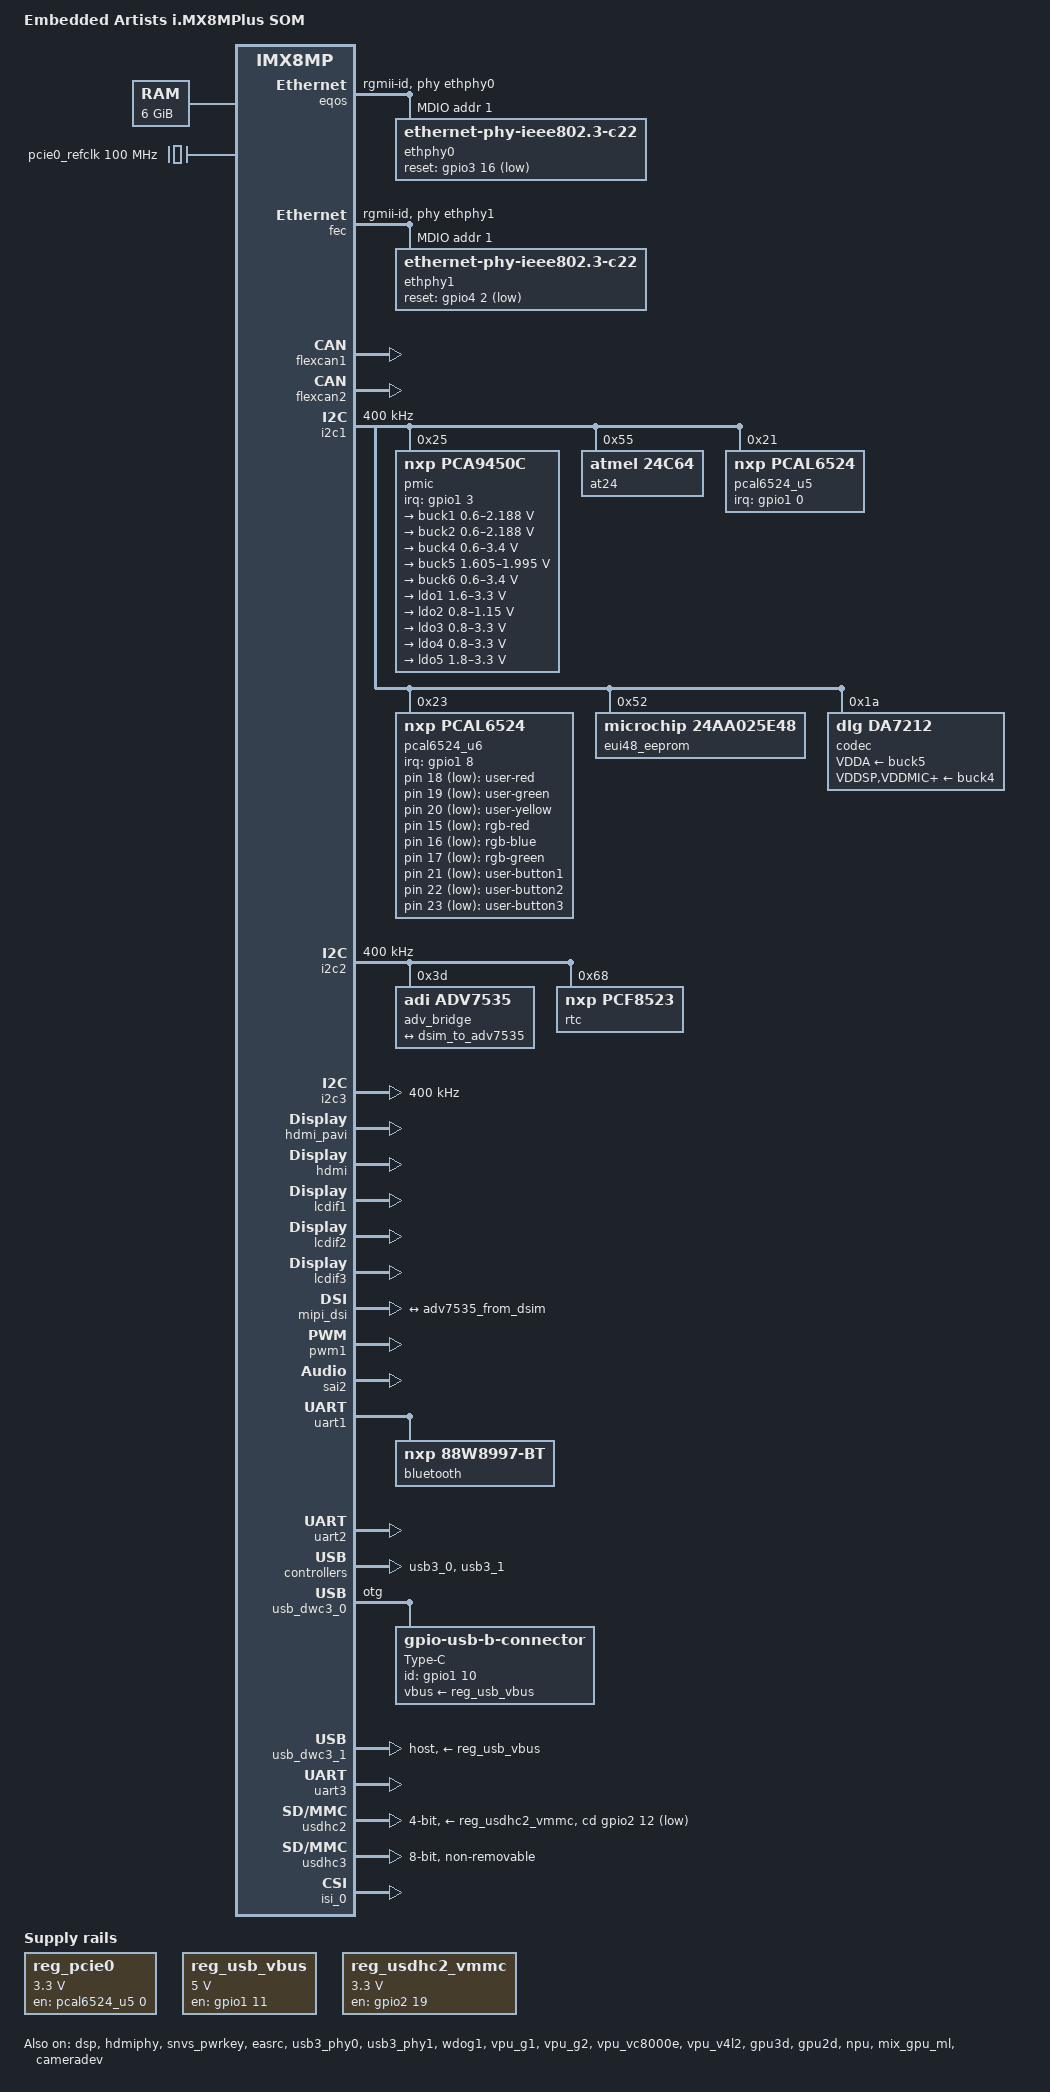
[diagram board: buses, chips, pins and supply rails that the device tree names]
// SPDX-License-Identifier: (GPL-2.0+ OR MIT)
/*
 * Copyright 2019 NXP
 */

/dts-v1/;

#include <dt-bindings/phy/phy-imx8-pcie.h>
#include <dt-bindings/usb/pd.h>
#include "imx8mp.dtsi"
#include "imx8mp-nxp-display.dtsi"
#include "imx8mp-nxp-capture.dtsi"

/ {
	model = "Embedded Artists i.MX8MPlus SOM";
	compatible = "fsl,imx8mpea-som", "fsl,imx8mp";

	chosen {
		stdout-path = &uart2;
	};

	memory@40000000 {
		device_type = "memory";
		reg = <0x0 0x40000000 0 0xc0000000>,
		      <0x1 0x00000000 0 0xc0000000>;
	};

	pcie0_refclk: pcie0-refclk {
		compatible = "fixed-clock";
		#clock-cells = <0>;
		clock-frequency = <100000000>;
	};

	reg_pcie0: regulator-pcie {
		compatible = "regulator-fixed";
		regulator-name = "MPCIE_3V3";
		regulator-min-microvolt = <3300000>;
		regulator-max-microvolt = <3300000>;
		gpio = <&pcal6524_u5 0 GPIO_ACTIVE_HIGH>; /* M2E_WL_REG_ON */
		enable-active-high;
	};

	reg_usb_vbus: regulator-vbus {
		compatible = "regulator-fixed";
		pinctrl-names = "default";
		pinctrl-0 = <&pinctrl_usb1_vbus>;
		regulator-name = "USB_VBUS";
		regulator-min-microvolt = <5000000>;
		regulator-max-microvolt = <5000000>;
		gpio = <&gpio1 11 GPIO_ACTIVE_HIGH>;
		enable-active-high;
		regulator-always-on;
	};

	reg_usdhc2_vmmc: regulator-usdhc2 {
		compatible = "regulator-fixed";
		pinctrl-names = "default";
		pinctrl-0 = <&pinctrl_reg_usdhc2_vmmc>;
		regulator-name = "VSD_3V3";
		regulator-min-microvolt = <3300000>;
		regulator-max-microvolt = <3300000>;
		gpio = <&gpio2 19 GPIO_ACTIVE_HIGH>;
		enable-active-high;
	};

	sound-da7217 {
		compatible = "simple-audio-card";
		simple-audio-card,name = "da7217-audio";
		simple-audio-card,format = "i2s";
		simple-audio-card,frame-master = <&cpudai>;
		simple-audio-card,bitclock-master = <&cpudai>;
		simple-audio-card,widgets = "Speaker", "Ext Spk";
		simple-audio-card,routing = "Ext Spk", "LINE";

		cpudai: simple-audio-card,cpu {
			sound-dai = <&sai2>;
			dai-tdm-slot-num = <2>;
			dai-tdm-slot-width = <32>;
		};

		simple-audio-card,codec {
			sound-dai = <&codec>;
			clocks = <&clk IMX8MP_CLK_SAI2_ROOT>;
		};
	};

	reserved-memory {
		#address-cells = <2>;
		#size-cells = <2>;
		ranges;

		dsp_vdev0vring0: vdev0vring0@942f0000 {
			reg = <0 0x942f0000 0 0x8000>;
			no-map;
		};

		dsp_vdev0vring1: vdev0vring1@942f8000 {
			reg = <0 0x942f8000 0 0x8000>;
			no-map;
		};

		dsp_vdev0buffer: vdev0buffer@94300000 {
			compatible = "shared-dma-pool";
			reg = <0 0x94300000 0 0x100000>;
			no-map;
		};
	};

	leds {
		compatible = "gpio-leds";

		led-0 {
			label = "user-red";
			gpios = <&pcal6524_u6 18 GPIO_ACTIVE_LOW>;
			default-state = "off";
		};

		led-1 {
			label = "user-green";
			gpios = <&pcal6524_u6 19 GPIO_ACTIVE_LOW>;
			default-state = "off";
		};

		led-2 {
			label = "user-yellow";
			gpios = <&pcal6524_u6 20 GPIO_ACTIVE_LOW>;
			default-state = "off";
		};

		led-3 {
			label = "rgb-red";
			gpios = <&pcal6524_u6 15 GPIO_ACTIVE_LOW>;
			default-state = "off";
		};

		led-4 {
			label = "rgb-blue";
			gpios = <&pcal6524_u6 16 GPIO_ACTIVE_LOW>;
			default-state = "off";
		};

		led-5 {
			label = "rgb-green";
			gpios = <&pcal6524_u6 17 GPIO_ACTIVE_LOW>;
			default-state = "off";
		};
	};

	gpio-keys {
		compatible = "gpio-keys";

		key-1 {
			label = "user-button1";
			gpios = <&pcal6524_u6 21 GPIO_ACTIVE_LOW>;
			linux,code = <KEY_1>;
		};

		key-2 {
			label = "user-button2";
			gpios = <&pcal6524_u6 22 GPIO_ACTIVE_LOW>;
			linux,code = <KEY_2>;
		};

		key-3 {
			label = "user-button3";
			gpios = <&pcal6524_u6 23 GPIO_ACTIVE_LOW>;
			linux,code = <KEY_3>;
		};
	};
};

&A53_0 {
	cpu-supply = <&buck2>;
};

&A53_1 {
	cpu-supply = <&buck2>;
};

&A53_2 {
	cpu-supply = <&buck2>;
};

&A53_3 {
	cpu-supply = <&buck2>;
};

&dsp {
	status = "okay";
};

&eqos {
	pinctrl-names = "default";
	pinctrl-0 = <&pinctrl_eqos>;
	phy-mode = "rgmii-id";
	phy-handle = <&ethphy0>;
	snps,force_thresh_dma_mode;
	snps,mtl-tx-config = <&mtl_tx_setup>;
	snps,mtl-rx-config = <&mtl_rx_setup>;
	status = "okay";

	mdio {
		compatible = "snps,dwmac-mdio";
		#address-cells = <1>;
		#size-cells = <0>;

		ethphy0: ethernet-phy@1 {
			compatible = "ethernet-phy-ieee802.3-c22";
			reg = <1>;
			reset-gpios = <&gpio3 16 GPIO_ACTIVE_LOW>;
			reset-assert-us = <10000>;
			reset-deassert-us = <80000>;
			realtek,clkout-disable;
		};
	};

	mtl_tx_setup: tx-queues-config {
		snps,tx-queues-to-use = <5>;

		queue0 {
			snps,dcb-algorithm;
			snps,priority = <0x1>;
		};

		queue1 {
			snps,dcb-algorithm;
			snps,priority = <0x2>;
		};

		queue2 {
			snps,dcb-algorithm;
			snps,priority = <0x4>;
		};

		queue3 {
			snps,dcb-algorithm;
			snps,priority = <0x8>;
		};

		queue4 {
			snps,dcb-algorithm;
			snps,priority = <0xf0>;
		};
	};

	mtl_rx_setup: rx-queues-config {
		snps,rx-queues-to-use = <5>;
		snps,rx-sched-sp;

		queue0 {
			snps,dcb-algorithm;
			snps,priority = <0x1>;
			snps,map-to-dma-channel = <0>;
		};

		queue1 {
			snps,dcb-algorithm;
			snps,priority = <0x2>;
			snps,map-to-dma-channel = <1>;
		};

		queue2 {
			snps,dcb-algorithm;
			snps,priority = <0x4>;
			snps,map-to-dma-channel = <2>;
		};

		queue3 {
			snps,dcb-algorithm;
			snps,priority = <0x8>;
			snps,map-to-dma-channel = <3>;
		};

		queue4 {
			snps,dcb-algorithm;
			snps,priority = <0xf0>;
			snps,map-to-dma-channel = <4>;
		};
	};
};

&fec {
	pinctrl-names = "default";
	pinctrl-0 = <&pinctrl_fec>;
	phy-mode = "rgmii-id";
	phy-handle = <&ethphy1>;
	fsl,magic-packet;
	status = "okay";

	mdio {
		#address-cells = <1>;
		#size-cells = <0>;

		ethphy1: ethernet-phy@1 {
			compatible = "ethernet-phy-ieee802.3-c22";
			reg = <1>;
			eee-broken-1000t;
			reset-gpios = <&gpio4 2 GPIO_ACTIVE_LOW>;
			reset-assert-us = <10000>;
			reset-deassert-us = <80000>;
			realtek,aldps-enable;
			realtek,clkout-disable;
		};
	};
};

&flexcan1 {
	pinctrl-names = "default";
	pinctrl-0 = <&pinctrl_flexcan1>;
	status = "okay";
};

&flexcan2 {
	pinctrl-names = "default";
	pinctrl-0 = <&pinctrl_flexcan2>;
	status = "okay";
};

&i2c1 {
	clock-frequency = <400000>;
	pinctrl-names = "default";
	pinctrl-0 = <&pinctrl_i2c1>;
	status = "okay";

	pmic@25 {
		compatible = "nxp,pca9450c";
		reg = <0x25>;
		pinctrl-names = "default";
		pinctrl-0 = <&pinctrl_pmic>;
		interrupt-parent = <&gpio1>;
		interrupts = <3 IRQ_TYPE_LEVEL_LOW>;

		regulators {
			buck1: BUCK1 {
				regulator-name = "BUCK1";
				regulator-min-microvolt = <600000>;
				regulator-max-microvolt = <2187500>;
				regulator-boot-on;
				regulator-always-on;
				regulator-ramp-delay = <3125>;
			};

			buck2: BUCK2 {
				regulator-name = "BUCK2";
				regulator-min-microvolt = <600000>;
				regulator-max-microvolt = <2187500>;
				regulator-boot-on;
				regulator-always-on;
				regulator-ramp-delay = <3125>;
				nxp,dvs-run-voltage = <950000>;
				nxp,dvs-standby-voltage = <850000>;
			};

			buck4: BUCK4{
				regulator-name = "BUCK4";
				regulator-min-microvolt = <600000>;
				regulator-max-microvolt = <3400000>;
				regulator-boot-on;
				regulator-always-on;
			};

			buck5: BUCK5{
				regulator-name = "BUCK5";
				regulator-min-microvolt = <1605000>;
				regulator-max-microvolt = <1995000>;
				regulator-boot-on;
				regulator-always-on;
			};

			buck6: BUCK6 {
				regulator-name = "BUCK6";
				regulator-min-microvolt = <600000>;
				regulator-max-microvolt = <3400000>;
				regulator-boot-on;
				regulator-always-on;
			};

			ldo1: LDO1 {
				regulator-name = "LDO1";
				regulator-min-microvolt = <1600000>;
				regulator-max-microvolt = <3300000>;
				regulator-boot-on;
				regulator-always-on;
			};

			ldo2: LDO2 {
				regulator-name = "LDO2";
				regulator-min-microvolt = <800000>;
				regulator-max-microvolt = <1150000>;
				regulator-boot-on;
				regulator-always-on;
			};

			ldo3: LDO3 {
				regulator-name = "LDO3";
				regulator-min-microvolt = <800000>;
				regulator-max-microvolt = <3300000>;
				regulator-boot-on;
				regulator-always-on;
			};

			ldo4: LDO4 {
				regulator-name = "LDO4";
				regulator-min-microvolt = <800000>;
				regulator-max-microvolt = <3300000>;
				regulator-boot-on;
				regulator-always-on;
			};

			ldo5: LDO5 {
				regulator-name = "LDO5";
				regulator-min-microvolt = <1800000>;
				regulator-max-microvolt = <3300000>;
				regulator-boot-on;
				regulator-always-on;
			};
		};
	};

	at24@55 {
		compatible = "atmel,24c64";
		pagesize = <32>;
		reg = <0x55>;
		read-only;
	};

	pcal6524_u5: gpio@21 {
		compatible = "nxp,pcal6524";
		pinctrl-names = "default";
		pinctrl-0 = <&pinctrl_pcal6524_u5>;
		reg = <0x21>;
		gpio-controller;
		#gpio-cells = <2>;
		interrupt-controller;
		#interrupt-cells = <2>;
		interrupt-parent = <&gpio1>;
		interrupts = <0 IRQ_TYPE_EDGE_BOTH>;
		gpio-line-names = "M2E_WL_REG_ON_3V3", "M2E_WL_DEV_WAKE", "M2E_WL_HOST_WAKE", "M2E_BT_REG_ON",
			"M2E_BT_DEV_WAKE", "M2E_BT_HOST_WAKE", "M2E_SDIO_RST", "M2E_PERST",
			"M2E_PEWAKE", "M2E_ALERT", "M2E_PWR_EN", "M2B_PWR_OFF",
			"M2B_WDISABLE", "M2B_PEWAKE", "M2B_PERST", "M2M_PERST",
			"M2M_PEWAKE", "M2BM_PWR_EN", "M2B_RESET", "SE050_EN_RST",
			"SLS32AIA_RST", "I2C_EXT_IRQ", "I2C_EXT_RST", "MIPI_RST";

		hog_M2BM_PWR_EN {
			gpio-hog;
			gpios = <17 0>;
			output-high;
		};
		hog_SE050_EN_RST {
			gpio-hog;
			gpios = <19 0>;
			output-high;
		};
		hog_SLS32AIA_RST {
			gpio-hog;
			gpios = <20 0>;
			output-high;
		};
		hog_I2C_EXT_RST {
			gpio-hog;
			gpios = <22 0>;
			output-high;
		};
		hog_MIPI_RST {
			gpio-hog;
			gpios = <23 0>;
			output-high;
		};
	};

	pcal6524_u6: gpio@23 {
		compatible = "nxp,pcal6524";
		pinctrl-names = "default";
		pinctrl-0 = <&pinctrl_pcal6524_u6>;
		reg = <0x23>;
		gpio-controller;
		#gpio-cells = <2>;
		interrupt-controller;
		#interrupt-cells = <2>;
		interrupt-parent = <&gpio1>;
		interrupts = <8 IRQ_TYPE_EDGE_BOTH>;
		gpio-line-names = "CSI0_RST-DATA", "CSI0_PWR-CLK", "CSI1_RST-DATA", "CSI1_PWR-CLK",
			"MIPI_CTP_RST", "MIPI_CTP_IRQ", "RGB_BL_PWR", "RGB_CTP_RST",
			"RGB_CTP_IRQ", "MIPI_BL_PWR_EN", "ADV_IRQ", "",
			"", "", "", "RGB_LED_RED",
			"RGB_LED_BLUE", "RGB_LED_GREEN", "USER_LED_RED", "USER_LED_GREEN",
			"USER_LED_YELLOW", "USER_BUTTON1", "USER_BUTTON2", "USER_BUTTON3";

		hog_CSI0_RST_DATA {
			gpio-hog;
			gpios = <0 0>;
			output-high;
		};
		hog_CSI0_PWR_CLK {
			gpio-hog;
			gpios = <1 0>;
			output-high;
		};
		hog_CSI1_RST_DATA {
			gpio-hog;
			gpios = <2 0>;
			output-high;
		};
		hog_CSI1_PWR_CLK {
			gpio-hog;
			gpios = <3 0>;
			output-high;
		};
		hog_MIPI_CTP_RST {
			gpio-hog;
			gpios = <4 0>;
			output-high;
		};
		hog_RGB_BL_PWR {
			gpio-hog;
			gpios = <6 0>;
			output-low;
		};
		hog_RGB_CTP_RST {
			gpio-hog;
			gpios = <7 0>;
			output-high;
		};
		hog_MIPI_BL_PWR_EN {
			gpio-hog;
			gpios = <9 0>;
			output-low;
		};
	};

	eui48_eeprom: eeprom@52 {
		compatible = "microchip,24aa025e48";
		reg = <0x52>;
		pagesize = <16>;
		size = <256>;
		read-only;

		/*
		 * EUI-48 is stored at offset 0xFA
		 */
		nvmem-layout {
			compatible = "fixed-layout";
			#address-cells = <1>;
			#size-cells = <1>;

			eeprom0_eui48: eui48@fa {
				reg = <0xfa 0x6>;
			};
		};

	};

	codec: audio-codec@1a {
		compatible = "dlg,da7212";
		reg = <0x1a>;
		#sound-dai-cells = <0>;

		VDDA-supply = <&buck5>; /* 1v8 */
		VDDSP-supply = <&buck4>; /* 3v3 */
		VDDMIC-supply = <&buck4>; /* 3v3 */
		VDDIO-supply = <&buck4>; /* 3v3 */

		clocks = <&clk IMX8MP_CLK_SAI2_ROOT>;
		clock-names = "mclk";
	};
};

&i2c2 {
	clock-frequency = <400000>;
	pinctrl-names = "default";
	pinctrl-0 = <&pinctrl_i2c2>;
	status = "okay";

	adv_bridge: adv7535@3d {
		compatible = "adi,adv7535";
		reg = <0x3d>;
		adi,addr-cec = <0x3b>;
		adi,dsi-lanes = <4>;
		status = "okay";

		port {
			adv7535_from_dsim: endpoint {
				remote-endpoint = <&dsim_to_adv7535>;
			};
		};
	};

	rtc@68 {
		compatible = "nxp,pcf8523";
		reg = <0x68>;
	};
};

&i2c3 {
	clock-frequency = <400000>;
	pinctrl-names = "default";
	pinctrl-0 = <&pinctrl_i2c3>;
	status = "okay";
};

&hdmi_pavi {
	status = "okay";
};

&hdmi {
	status = "okay";
};

&hdmiphy {
	status = "okay";
};

&lcdif1 {
	status = "okay";
};

&lcdif2 {
	status = "okay";
};

&lcdif3 {
	status = "okay";

	thres-low  = <1 2>;             /* (FIFO * 1 / 2) */
	thres-high = <3 4>;             /* (FIFO * 3 / 4) */
};

&mipi_dsi {
	status = "okay";

	port@1 {
		dsim_to_adv7535: endpoint {
			remote-endpoint = <&adv7535_from_dsim>;
			attach-bridge;
		};
	};
};

&pcie_phy {
	fsl,refclk-pad-mode = <IMX8_PCIE_REFCLK_PAD_INPUT>;
	clocks = <&pcie0_refclk>;
	clock-names = "ref";
	status = "disabled";
};

&pcie {
	pinctrl-names = "default";
	pinctrl-0 = <&pinctrl_pcie0>;
	reset-gpio = <&pcal6524_u5  7 GPIO_ACTIVE_LOW>;   /* M2E_PERST# */
	vpcie-supply = <&reg_pcie0>;
	status = "disabled";
};

&pwm1 {
	pinctrl-names = "default";
	pinctrl-0 = <&pinctrl_pwm1>;
	status = "okay";
};

&sai2 {
	#sound-dai-cells = <0>;
	pinctrl-names = "default";
	pinctrl-0 = <&pinctrl_sai2>;
	assigned-clocks = <&clk IMX8MP_CLK_SAI2>;
	assigned-clock-parents = <&clk IMX8MP_AUDIO_PLL1_OUT>;
	assigned-clock-rates = <12288000>;
	fsl,sai-mclk-direction-output;
	status = "okay";
};

&snvs_pwrkey {
	status = "okay";
};

&easrc {
	fsl,asrc-rate  = <48000>;
	status = "okay";
};

&sdma2 {
	status = "okay";
};

&uart1 { /* BT */
	pinctrl-names = "default";
	pinctrl-0 = <&pinctrl_uart1>;
	assigned-clocks = <&clk IMX8MP_CLK_UART1>;
	assigned-clock-parents = <&clk IMX8MP_SYS_PLL1_80M>;
	uart-has-rtscts;
	status = "okay";

	bluetooth {
		compatible = "nxp,88w8997-bt";
	};
};

&uart2 {
	/* console */
	pinctrl-names = "default";
	pinctrl-0 = <&pinctrl_uart2>;
	status = "okay";
};

&usb3_phy0 {
	fsl,phy-tx-vref-tune-percent = <122>;
	fsl,phy-tx-preemp-amp-tune-microamp = <1800>;
	fsl,phy-tx-vboost-level-microvolt = <1156>;
	fsl,phy-comp-dis-tune-percent = <115>;
	fsl,phy-pcs-tx-deemph-3p5db-attenuation-db = <33>;
	fsl,phy-pcs-tx-swing-full-percent = <100>;
	status = "okay";
};

&usb3_0 {
	status = "okay";
};

&usb_dwc3_0 {
	dr_mode = "otg";
	hnp-disable;
	srp-disable;
	adp-disable;
	usb-role-switch;
	role-switch-default-mode = "none";
	snps,dis-u1-entry-quirk;
	snps,dis-u2-entry-quirk;
	status = "okay";

	connector {
		compatible = "gpio-usb-b-connector", "usb-b-connector";
		id-gpios = <&gpio1 10 GPIO_ACTIVE_HIGH>;
		label = "Type-C";
		pinctrl-names = "default";
		pinctrl-0 = <&pinctrl_usb0>;
		self-powered;
		type = "micro";
		vbus-supply = <&reg_usb_vbus>;
	};
};

&usb3_phy1 {
	fsl,phy-tx-preemp-amp-tune-microamp = <1800>;
	fsl,phy-tx-vref-tune-percent = <116>;
	status = "okay";
};

&usb3_1 {
	status = "okay";
};

&usb_dwc3_1 {
	vbus-supply = <&reg_usb_vbus>;
	dr_mode = "host";
	status = "okay";
};

&uart3 {
	pinctrl-names = "default";
	pinctrl-0 = <&pinctrl_uart3>;
	assigned-clocks = <&clk IMX8MP_CLK_UART3>;
	assigned-clock-parents = <&clk IMX8MP_SYS_PLL1_80M>;
	uart-has-rtscts;
	status = "okay";
};

&usdhc2 {
	assigned-clocks = <&clk IMX8MP_CLK_USDHC2>;
	assigned-clock-rates = <400000000>;
	pinctrl-names = "default", "state_100mhz", "state_200mhz";
	pinctrl-0 = <&pinctrl_usdhc2>, <&pinctrl_usdhc2_gpio>;
	pinctrl-1 = <&pinctrl_usdhc2_100mhz>, <&pinctrl_usdhc2_gpio>;
	pinctrl-2 = <&pinctrl_usdhc2_200mhz>, <&pinctrl_usdhc2_gpio>;
	cd-gpios = <&gpio2 12 GPIO_ACTIVE_LOW>;
	vmmc-supply = <&reg_usdhc2_vmmc>;
	bus-width = <4>;
	status = "okay";
};

&usdhc3 {
	assigned-clocks = <&clk IMX8MP_CLK_USDHC3>;
	assigned-clock-rates = <400000000>;
	pinctrl-names = "default", "state_100mhz", "state_200mhz";
	pinctrl-0 = <&pinctrl_usdhc3>;
	pinctrl-1 = <&pinctrl_usdhc3_100mhz>;
	pinctrl-2 = <&pinctrl_usdhc3_200mhz>;
	bus-width = <8>;
	non-removable;
	status = "okay";
};

&wdog1 {
	pinctrl-names = "default";
	pinctrl-0 = <&pinctrl_wdog>;
	fsl,ext-reset-output;
	status = "okay";
};

&iomuxc {
	pinctrl-names = "default";
	pinctrl-0 = <&pinctrl_hog>;

	pinctrl_eqos: eqosgrp {
		fsl,pins = <
			MX8MP_IOMUXC_ENET_MDC__ENET_QOS_MDC				0x2
			MX8MP_IOMUXC_ENET_MDIO__ENET_QOS_MDIO				0x2
			MX8MP_IOMUXC_ENET_RD0__ENET_QOS_RGMII_RD0			0x90
			MX8MP_IOMUXC_ENET_RD1__ENET_QOS_RGMII_RD1			0x90
			MX8MP_IOMUXC_ENET_RD2__ENET_QOS_RGMII_RD2			0x90
			MX8MP_IOMUXC_ENET_RD3__ENET_QOS_RGMII_RD3			0x90
			MX8MP_IOMUXC_ENET_RXC__CCM_ENET_QOS_CLOCK_GENERATE_RX_CLK	0x90
			MX8MP_IOMUXC_ENET_RX_CTL__ENET_QOS_RGMII_RX_CTL			0x90
			MX8MP_IOMUXC_ENET_TD0__ENET_QOS_RGMII_TD0			0x16
			MX8MP_IOMUXC_ENET_TD1__ENET_QOS_RGMII_TD1			0x16
			MX8MP_IOMUXC_ENET_TD2__ENET_QOS_RGMII_TD2			0x16
			MX8MP_IOMUXC_ENET_TD3__ENET_QOS_RGMII_TD3			0x16
			MX8MP_IOMUXC_ENET_TX_CTL__ENET_QOS_RGMII_TX_CTL			0x16
			MX8MP_IOMUXC_ENET_TXC__CCM_ENET_QOS_CLOCK_GENERATE_TX_CLK	0x16
			MX8MP_IOMUXC_NAND_READY_B__GPIO3_IO16				0x10
		>;
	};

	pinctrl_fec: fecgrp {
		fsl,pins = <
			MX8MP_IOMUXC_SAI1_RXD2__ENET1_MDC		0x2
			MX8MP_IOMUXC_SAI1_RXD3__ENET1_MDIO		0x2
			MX8MP_IOMUXC_SAI1_RXD4__ENET1_RGMII_RD0		0x90
			MX8MP_IOMUXC_SAI1_RXD5__ENET1_RGMII_RD1		0x90
			MX8MP_IOMUXC_SAI1_RXD6__ENET1_RGMII_RD2		0x90
			MX8MP_IOMUXC_SAI1_RXD7__ENET1_RGMII_RD3		0x90
			MX8MP_IOMUXC_SAI1_TXC__ENET1_RGMII_RXC		0x90
			MX8MP_IOMUXC_SAI1_TXFS__ENET1_RGMII_RX_CTL	0x90
			MX8MP_IOMUXC_SAI1_TXD0__ENET1_RGMII_TD0		0x16
			MX8MP_IOMUXC_SAI1_TXD1__ENET1_RGMII_TD1		0x16
			MX8MP_IOMUXC_SAI1_TXD2__ENET1_RGMII_TD2		0x16
			MX8MP_IOMUXC_SAI1_TXD3__ENET1_RGMII_TD3		0x16
			MX8MP_IOMUXC_SAI1_TXD4__ENET1_RGMII_TX_CTL	0x16
			MX8MP_IOMUXC_SAI1_TXD5__ENET1_RGMII_TXC		0x16
			MX8MP_IOMUXC_SAI1_RXD0__GPIO4_IO02		0x10
		>;
	};

	pinctrl_flexcan1: flexcan1grp {
		fsl,pins = <
			MX8MP_IOMUXC_SAI5_RXD2__CAN1_RX          0x154
			MX8MP_IOMUXC_SAI5_RXD1__CAN1_TX          0x154
		>;
	};

	pinctrl_flexcan2: flexcan2grp {
		fsl,pins = <
			MX8MP_IOMUXC_SAI5_MCLK__CAN2_RX         0x154
			MX8MP_IOMUXC_SAI5_RXD3__CAN2_TX         0x154
		>;
	};

	pinctrl_hog: hoggrp {
		fsl,pins = <
			MX8MP_IOMUXC_HDMI_DDC_SCL__HDMIMIX_HDMI_SCL	0x400001c2
			MX8MP_IOMUXC_HDMI_DDC_SDA__HDMIMIX_HDMI_SDA	0x400001c2
			MX8MP_IOMUXC_HDMI_HPD__HDMIMIX_HDMI_HPD		0x40000010
			MX8MP_IOMUXC_HDMI_CEC__HDMIMIX_HDMI_CEC		0x40000010
		>;
	};

	pinctrl_i2c1: i2c1grp {
		fsl,pins = <
			MX8MP_IOMUXC_I2C1_SCL__I2C1_SCL		0x400001c2
			MX8MP_IOMUXC_I2C1_SDA__I2C1_SDA		0x400001c2
		>;
	};

	pinctrl_i2c2: i2c2grp {
		fsl,pins = <
			MX8MP_IOMUXC_I2C2_SCL__I2C2_SCL		0x400001c2
			MX8MP_IOMUXC_I2C2_SDA__I2C2_SDA		0x400001c2
		>;
	};

	pinctrl_i2c3: i2c3grp {
		fsl,pins = <
			MX8MP_IOMUXC_I2C3_SCL__I2C3_SCL		0x400001c2
			MX8MP_IOMUXC_I2C3_SDA__I2C3_SDA		0x400001c2
		>;
	};

	pinctrl_pcie0: pcie0grp {
		fsl,pins = <
			MX8MP_IOMUXC_I2C4_SCL__PCIE_CLKREQ_B	0x60 /* open drain, pull up */
			MX8MP_IOMUXC_NAND_DATA02__GPIO3_IO08	0x06 /* Reset for onboard DeepX */
		>;
	};

	pinctrl_pmic: pmicgrp {
		fsl,pins = <
			MX8MP_IOMUXC_GPIO1_IO03__GPIO1_IO03	0x000001c0
		>;
	};

	pinctrl_pwm1: pwm1grp {
		fsl,pins = <
			MX8MP_IOMUXC_GPIO1_IO01__PWM1_OUT	0x116
		>;
	};

	pinctrl_reg_usdhc2_vmmc: regusdhc2vmmcgrp {
		fsl,pins = <
			MX8MP_IOMUXC_SD2_RESET_B__GPIO2_IO19	0x40
		>;
	};

	pinctrl_uart1: uart1grp {
		fsl,pins = <
			MX8MP_IOMUXC_UART1_RXD__UART1_DCE_RX	0x140
			MX8MP_IOMUXC_UART1_TXD__UART1_DCE_TX	0x140
			MX8MP_IOMUXC_UART3_RXD__UART1_DCE_CTS	0x140
			MX8MP_IOMUXC_UART3_TXD__UART1_DCE_RTS	0x140
		>;
	};

	pinctrl_sai2: sai2grp {
		fsl,pins = <
			MX8MP_IOMUXC_SAI2_TXC__AUDIOMIX_SAI2_TX_BCLK	0xd6
			MX8MP_IOMUXC_SAI2_TXFS__AUDIOMIX_SAI2_TX_SYNC	0xd6
			MX8MP_IOMUXC_SAI2_TXD0__AUDIOMIX_SAI2_TX_DATA00	0xd6
			MX8MP_IOMUXC_SAI2_RXD0__AUDIOMIX_SAI2_RX_DATA00	0xd6
		>;
	};

	pinctrl_uart2: uart2grp {
		fsl,pins = <
			MX8MP_IOMUXC_UART2_RXD__UART2_DCE_RX	0x140
			MX8MP_IOMUXC_UART2_TXD__UART2_DCE_TX	0x140
		>;
	};

	pinctrl_usb1_vbus: usb1grp {
		fsl,pins = <
			MX8MP_IOMUXC_GPIO1_IO11__GPIO1_IO11		0x10
		>;
	};

	pinctrl_uart3: uart3grp {
		fsl,pins = <
			MX8MP_IOMUXC_ECSPI1_SCLK__UART3_DCE_RX		0x140
			MX8MP_IOMUXC_ECSPI1_MOSI__UART3_DCE_TX		0x140
			MX8MP_IOMUXC_ECSPI1_SS0__UART3_DCE_RTS		0x140
			MX8MP_IOMUXC_ECSPI1_MISO__UART3_DCE_CTS		0x140
		>;
	};

	pinctrl_usdhc2: usdhc2grp {
		fsl,pins = <
			MX8MP_IOMUXC_SD2_CLK__USDHC2_CLK	0x190
			MX8MP_IOMUXC_SD2_CMD__USDHC2_CMD	0x1d0
			MX8MP_IOMUXC_SD2_DATA0__USDHC2_DATA0	0x1d0
			MX8MP_IOMUXC_SD2_DATA1__USDHC2_DATA1	0x1d0
			MX8MP_IOMUXC_SD2_DATA2__USDHC2_DATA2	0x1d0
			MX8MP_IOMUXC_SD2_DATA3__USDHC2_DATA3	0x1d0
			MX8MP_IOMUXC_GPIO1_IO04__USDHC2_VSELECT	0xc0
		>;
	};

	pinctrl_usdhc2_100mhz: usdhc2-100mhzgrp {
		fsl,pins = <
			MX8MP_IOMUXC_SD2_CLK__USDHC2_CLK	0x194
			MX8MP_IOMUXC_SD2_CMD__USDHC2_CMD	0x1d4
			MX8MP_IOMUXC_SD2_DATA0__USDHC2_DATA0	0x1d4
			MX8MP_IOMUXC_SD2_DATA1__USDHC2_DATA1	0x1d4
			MX8MP_IOMUXC_SD2_DATA2__USDHC2_DATA2	0x1d4
			MX8MP_IOMUXC_SD2_DATA3__USDHC2_DATA3	0x1d4
			MX8MP_IOMUXC_GPIO1_IO04__USDHC2_VSELECT 0xc0
		>;
	};

	pinctrl_usdhc2_200mhz: usdhc2-200mhzgrp {
		fsl,pins = <
			MX8MP_IOMUXC_SD2_CLK__USDHC2_CLK	0x196
			MX8MP_IOMUXC_SD2_CMD__USDHC2_CMD	0x1d6
			MX8MP_IOMUXC_SD2_DATA0__USDHC2_DATA0	0x1d6
			MX8MP_IOMUXC_SD2_DATA1__USDHC2_DATA1	0x1d6
			MX8MP_IOMUXC_SD2_DATA2__USDHC2_DATA2	0x1d6
			MX8MP_IOMUXC_SD2_DATA3__USDHC2_DATA3	0x1d6
			MX8MP_IOMUXC_GPIO1_IO04__USDHC2_VSELECT 0xc0
		>;
	};

	pinctrl_usdhc2_gpio: usdhc2gpiogrp {
		fsl,pins = <
			MX8MP_IOMUXC_SD2_CD_B__GPIO2_IO12	0x1c4
		>;
	};

	pinctrl_usdhc3: usdhc3grp {
		fsl,pins = <
			MX8MP_IOMUXC_NAND_WE_B__USDHC3_CLK	0x190
			MX8MP_IOMUXC_NAND_WP_B__USDHC3_CMD	0x1d0
			MX8MP_IOMUXC_NAND_DATA04__USDHC3_DATA0	0x1d0
			MX8MP_IOMUXC_NAND_DATA05__USDHC3_DATA1	0x1d0
			MX8MP_IOMUXC_NAND_DATA06__USDHC3_DATA2	0x1d0
			MX8MP_IOMUXC_NAND_DATA07__USDHC3_DATA3	0x1d0
			MX8MP_IOMUXC_NAND_RE_B__USDHC3_DATA4	0x1d0
			MX8MP_IOMUXC_NAND_CE2_B__USDHC3_DATA5	0x1d0
			MX8MP_IOMUXC_NAND_CE3_B__USDHC3_DATA6	0x1d0
			MX8MP_IOMUXC_NAND_CLE__USDHC3_DATA7	0x1d0
			MX8MP_IOMUXC_NAND_CE1_B__USDHC3_STROBE	0x190
		>;
	};

	pinctrl_usdhc3_100mhz: usdhc3-100mhzgrp {
		fsl,pins = <
			MX8MP_IOMUXC_NAND_WE_B__USDHC3_CLK	0x194
			MX8MP_IOMUXC_NAND_WP_B__USDHC3_CMD	0x1d4
			MX8MP_IOMUXC_NAND_DATA04__USDHC3_DATA0	0x1d4
			MX8MP_IOMUXC_NAND_DATA05__USDHC3_DATA1	0x1d4
			MX8MP_IOMUXC_NAND_DATA06__USDHC3_DATA2	0x1d4
			MX8MP_IOMUXC_NAND_DATA07__USDHC3_DATA3	0x1d4
			MX8MP_IOMUXC_NAND_RE_B__USDHC3_DATA4	0x1d4
			MX8MP_IOMUXC_NAND_CE2_B__USDHC3_DATA5	0x1d4
			MX8MP_IOMUXC_NAND_CE3_B__USDHC3_DATA6	0x1d4
			MX8MP_IOMUXC_NAND_CLE__USDHC3_DATA7	0x1d4
			MX8MP_IOMUXC_NAND_CE1_B__USDHC3_STROBE	0x194
		>;
	};

	pinctrl_usdhc3_200mhz: usdhc3-200mhzgrp {
		fsl,pins = <
			MX8MP_IOMUXC_NAND_WE_B__USDHC3_CLK	0x196
			MX8MP_IOMUXC_NAND_WP_B__USDHC3_CMD	0x1d6
			MX8MP_IOMUXC_NAND_DATA04__USDHC3_DATA0	0x1d6
			MX8MP_IOMUXC_NAND_DATA05__USDHC3_DATA1	0x1d6
			MX8MP_IOMUXC_NAND_DATA06__USDHC3_DATA2	0x1d6
			MX8MP_IOMUXC_NAND_DATA07__USDHC3_DATA3	0x1d6
			MX8MP_IOMUXC_NAND_RE_B__USDHC3_DATA4	0x1d6
			MX8MP_IOMUXC_NAND_CE2_B__USDHC3_DATA5	0x1d6
			MX8MP_IOMUXC_NAND_CE3_B__USDHC3_DATA6	0x1d6
			MX8MP_IOMUXC_NAND_CLE__USDHC3_DATA7	0x1d6
			MX8MP_IOMUXC_NAND_CE1_B__USDHC3_STROBE	0x196
		>;
	};

	pinctrl_wdog: wdoggrp {
		fsl,pins = <
			MX8MP_IOMUXC_GPIO1_IO02__WDOG1_WDOG_B	0x166
		>;
	};

	pinctrl_pcal6524_u5: pcal6524u5grp {
		fsl,pins = <
			MX8MP_IOMUXC_GPIO1_IO00__GPIO1_IO00	0x1d6     /* GPIO_A-IRQ */
		>;
	};
	pinctrl_pcal6524_u6: pcal6524u6grp {
		fsl,pins = <
			MX8MP_IOMUXC_GPIO1_IO08__GPIO1_IO08	0x1d6     /* GPIO_B-IRQ */
		>;
	};

	pinctrl_usb0: usb0grp {
		fsl,pins = <
			MX8MP_IOMUXC_GPIO1_IO10__GPIO1_IO10	0x140     /* USB OTG_ID */
			MX8MP_IOMUXC_GPIO1_IO12__GPIO1_IO12	0x06      /* USB_OTG_PWR */
		>;
	};
};

&vpu_g1 {
	status = "okay";
};

&vpu_g2 {
	status = "okay";
};

&vpu_vc8000e {
	status = "okay";
};

&vpu_v4l2 {
	status = "okay";
};

&gpu3d {
	status = "okay";
};

&gpu2d {
	status = "okay";
};

&npu {
	status = "okay";
};

&mix_gpu_ml {
	status = "okay";
};

&cameradev {
	status = "okay";
};

&isi_0 {
	status = "okay";

	cap_device {
		status = "okay";
	};

	m2m_device {
		status = "okay";
	};
};

&isi_1 {
	status = "disabled";

	cap_device {
		status = "okay";
	};
};
